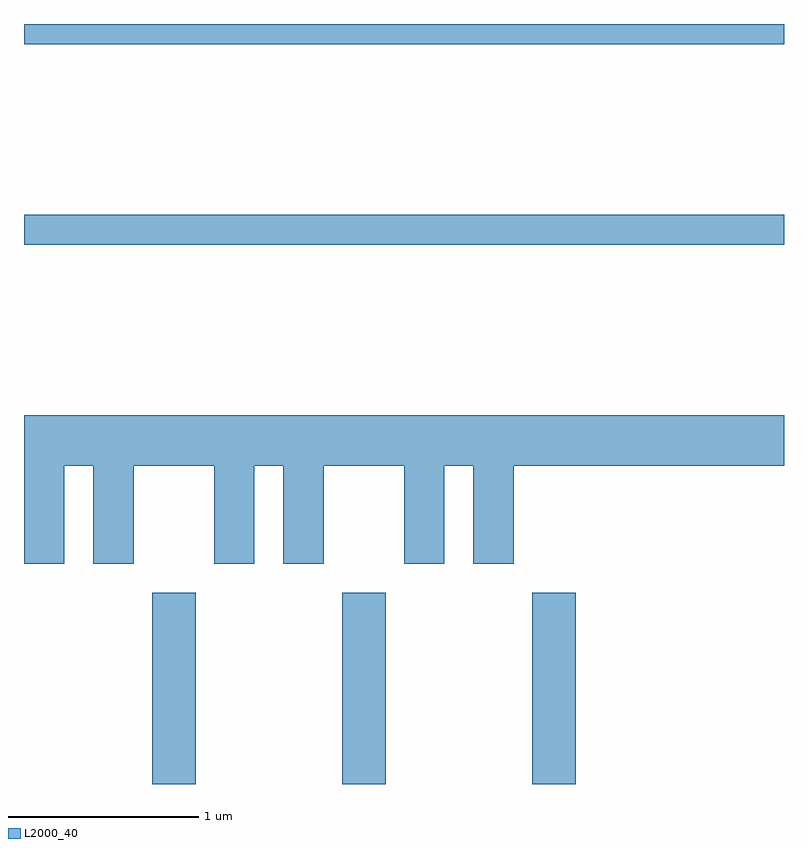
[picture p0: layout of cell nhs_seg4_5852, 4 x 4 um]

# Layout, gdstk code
import gdstk
lib = gdstk.Library(unit=1e-6, precision=1e-09)
def R(c, l, rs):  # rectangles x0, y0, x1, y1
    for r in rs: c.add(gdstk.rectangle(r[:2], r[2:], *l))
def A(c, l, x, y, w, h, nx, ny, dx, dy):  # array of equal rectangles
    R(c, l, [(x+i*dx, y+j*dy, x+i*dx+w, y+j*dy+h) for i in range(nx) for j in range(ny)])
def P(c, l, *ps):  # polygons
    for p in ps: c.add(gdstk.Polygon(p, *l))
L2000_40 = (2000, 40)

nhs_seg4_5852 = lib.new_cell('nhs_seg4_5852')
A(nhs_seg4_5852, L2000_40, 358.286, 1261.982, 0.228, 1.007, 3, 1, 1, 0)
R(nhs_seg4_5852, L2000_40, [(357.611,1264.821,361.611,1264.979), (357.611,1265.876,361.611,1265.982)])
P(nhs_seg4_5852, L2000_40, [(357.611,1263.141),(357.824,1263.141),(357.824,1263.656),(357.976,1263.656),(357.976,1263.141),(358.189,1263.141),(358.189,1263.656),(358.611,1263.656),(358.611,1263.141),(358.824,1263.141),(358.824,1263.656),(358.976,1263.656),(358.976,1263.141),(359.189,1263.141),(359.189,1263.656),(359.611,1263.656),(359.611,1263.141),(359.824,1263.141),(359.824,1263.656),(359.976,1263.656),(359.976,1263.141),(360.189,1263.141),(360.189,1263.656),(361.611,1263.656),(361.611,1263.924),(357.611,1263.924)])

lib.write_gds('nhs_seg4_5852.gds')
